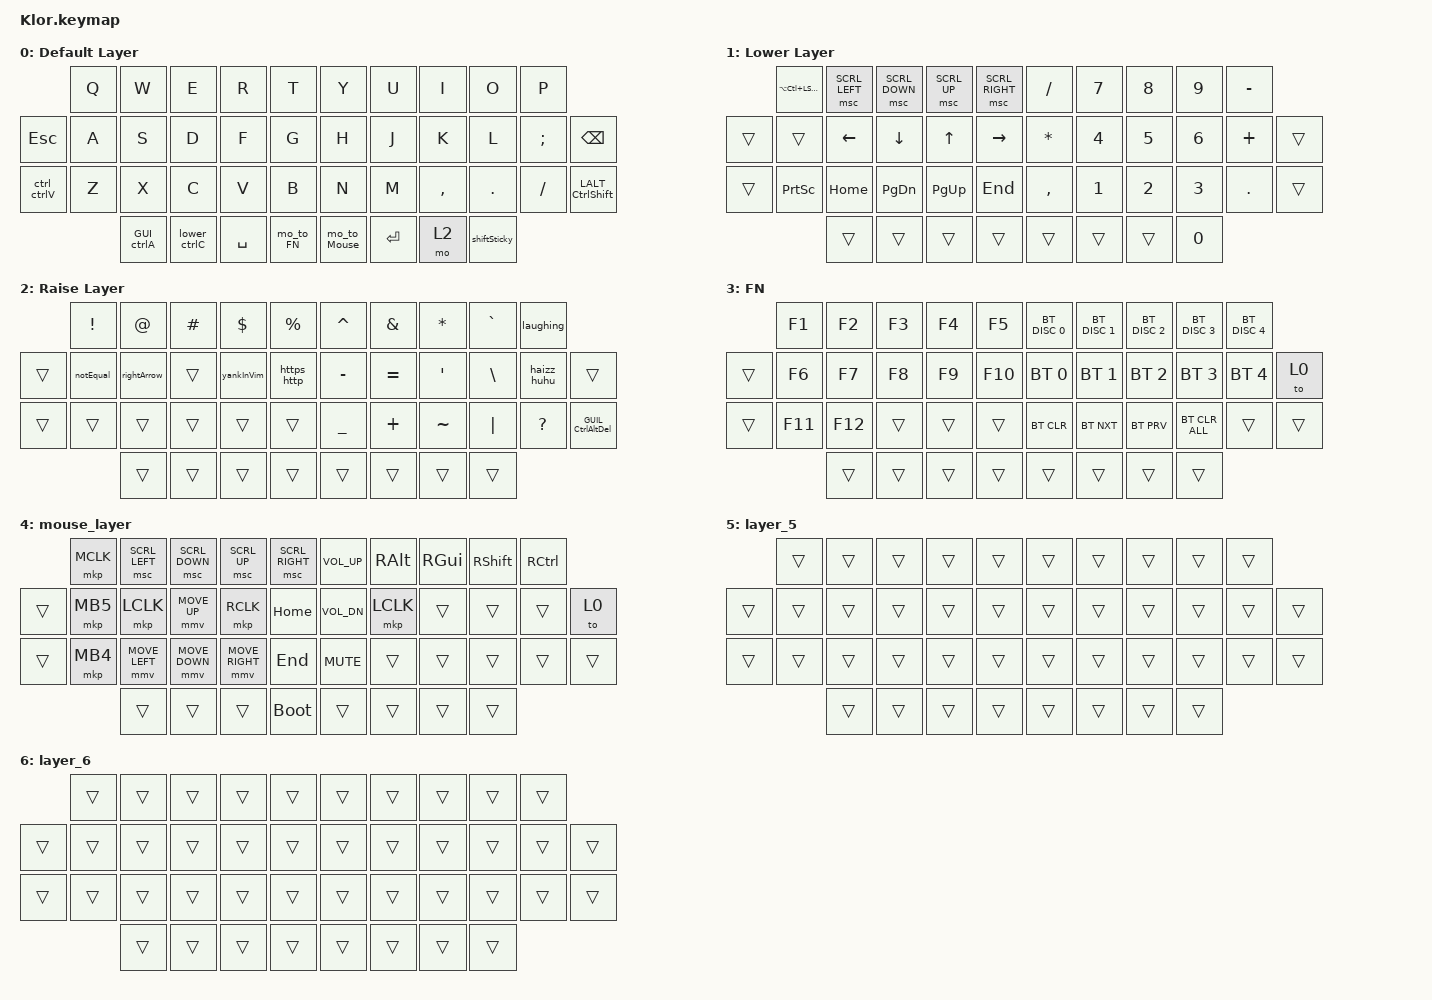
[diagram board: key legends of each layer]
/*
 * Copyright (c) 2020 The ZMK Contributors
 *
 * SPDX-License-Identifier: MIT
 */

#include <input/processors.dtsi>
#include <zephyr/dt-bindings/input/input-event-codes.h>
#include <dt-bindings/zmk/mouse.h>
#include <behaviors/mouse_keys.dtsi>
#include <behaviors.dtsi>
#include <dt-bindings/zmk/bt.h>
#include <dt-bindings/zmk/keys.h>
#include <dt-bindings/zmk/pointing.h>

#define ZMK_POINTING_DEFAULT_MOVE_VAL 1200  // 600
#define ZMK_POINTING_DEFAULT_SCRL_VAL 300   // mousescroll SPEED

&mmv_input_listener { input-processors = <&zip_xy_scaler 2 1>; };

&msc_input_listener { input-processors = <&zip_scroll_scaler 2 1>; };

&msc {
    acceleration-exponent = <1>;      // 0
    time-to-max-speed-ms = <3000>;       // 300
    delay-ms = <0>;                   // 0
};

&mmv {
    time-to-max-speed-ms = <1000>;
    acceleration-exponent = <1>;
    trigger-period-ms = <16>;
};

&soft_off {
    hold-time-ms = <3000>; // Only turn off it the key is held for 3 seconds or longer.
};

&mt { flavor = "tap-preferred"; };

&lt {
    tapping-term-ms = <300>;
    flavor = "balanced";
};

&sk {
    quick-release;
    lazy;
};

/ {
    behaviors {
        shiftSticky: shiftSticky {
            compatible = "zmk,behavior-tap-dance";
            label = "SHIFTSTICKY";
            #binding-cells = <0>;
            bindings = <&sk LEFT_SHIFT>;
        };

        GUI_ctrlA: GUI_ctrlA {
            compatible = "zmk,behavior-tap-dance";
            label = "GUI_CTRLA";
            #binding-cells = <0>;
            bindings = <&kp LEFT_GUI>, <&kp LC(A)>;
        };

        laughing: laughing {
            compatible = "zmk,behavior-tap-dance";
            label = "LAUGHING";
            #binding-cells = <0>;
            bindings = <&hihi>, <&haha>;
        };

        lower_ctrlC: lower_ctrlC {
            compatible = "zmk,behavior-tap-dance";
            label = "LOWER_CTRLC";
            #binding-cells = <0>;
            bindings = <&mo 1>, <&kp LC(C)>;
        };

        ctrl_ctrlV: ctrl_ctrlV {
            compatible = "zmk,behavior-tap-dance";
            label = "CTRL_CTRLV";
            #binding-cells = <0>;
            bindings = <&kp LCTRL>, <&kp LC(V)>;
        };

        mo_to_FN: mo_to_FN {
            compatible = "zmk,behavior-tap-dance";
            label = "MO_TO_FN";
            #binding-cells = <0>;
            bindings = <&mo 3>, <&to 3>;
        };

        mo_to_Mouse: mo_to_Mouse {
            compatible = "zmk,behavior-tap-dance";
            label = "MO_TO_MOUSE";
            #binding-cells = <0>;
            bindings = <&mo 4>, <&to 4>;
        };

        haizz_huhu: haizz_huhu {
            compatible = "zmk,behavior-tap-dance";
            label = "HAIZZ_HUHU";
            #binding-cells = <0>;
            bindings = <&haizzzz>, <&huhu>;
        };

        GUIL_CtrlAltDel: GUIL_CtrlAltDel {
            compatible = "zmk,behavior-tap-dance";
            label = "GUIL_CTRLALTDEL";
            #binding-cells = <0>;
            bindings = <&kp LG(L)>, <&kp LC(LA(DELETE))>;
        };

        LALT_CtrlShift: LALT_CtrlShift {
            compatible = "zmk,behavior-tap-dance";
            label = "LALT_CTRLSHIFT";
            #binding-cells = <0>;
            bindings = <&kp LEFT_ALT>, <&kp LC(LEFT_SHIFT)>;
        };

        https_http: https_http {
            compatible = "zmk,behavior-tap-dance";
            label = "HTTPS_HTTP";
            #binding-cells = <0>;
            bindings = <&https>, <&http>;
        };
    };

    combos {
        compatible = "zmk,combos";

        doubleQuotes {
            bindings = <&kp DOUBLE_QUOTES>;
            key-positions = <6 8>;
        };

        leftParenthesis {
            bindings = <&kp LEFT_PARENTHESIS>;
            key-positions = <6 7>;
        };

        rightParenthesis {
            bindings = <&kp RIGHT_PARENTHESIS>;
            key-positions = <7 8>;
        };

        leftBracket {
            bindings = <&kp LEFT_BRACKET>;
            key-positions = <17 18>;
        };

        rightBracket {
            bindings = <&kp RIGHT_BRACKET>;
            key-positions = <18 19>;
        };

        leftBrace {
            bindings = <&kp LEFT_BRACE>;
            key-positions = <29 30>;
        };

        rightBrace {
            bindings = <&kp RIGHT_BRACE>;
            key-positions = <30 31>;
        };

        lessThan {
            bindings = <&kp LESS_THAN>;
            key-positions = <17 19>;
        };

        greaterThan {
            bindings = <&kp GREATER_THAN>;
            key-positions = <29 31>;
        };

        colon {
            bindings = <&kp COLON>;
            key-positions = <19 20>;
        };

        backSpace {
            bindings = <&kp BACKSPACE>;
            key-positions = <23 24>;
            layers = <0 1 2 3>;
        };

        delete {
            bindings = <&kp DELETE>;
            key-positions = <24 25>;
            layers = <0 1 2 3>;
        };

        shift {
            bindings = <&kp LEFT_SHIFT>;
            key-positions = <25 26>;
            layers = <0 1 2 3>;
        };

        return {
            bindings = <&kp RET>;
            key-positions = <14 27>;
            layers = <0 1 2 3>;
        };

        tab {
            bindings = <&kp TAB>;
            key-positions = <13 14>;
            layers = <0 1 2 3>;
        };

        Caps_Lock {
            bindings = <&kp CAPSLOCK>;
            key-positions = <4 5>;
        };

        caps_Word {
            bindings = <&caps_word>;
            key-positions = <15 16>;
        };

        stickyShift {
            bindings = <&sk LEFT_SHIFT>;
            key-positions = <17 20>;
        };
    };

    macros {
        hihi: hihi {
            compatible = "zmk,behavior-macro";
            #binding-cells = <0>;
            bindings = <&none &kp COLON &kp RPAR &kp RPAR &kp RPAR>;
            label = "HIHI";
        };

        yankInVim: yankInVim {
            compatible = "zmk,behavior-macro";
            #binding-cells = <0>;
            bindings = <&none &kp DQT &kp PLUS &kp Y>;
            label = "YANKINVIM";
        };

        https: https {
            compatible = "zmk,behavior-macro";
            #binding-cells = <0>;
            bindings = <&none &kp H &kp T &kp T &kp P &kp S &kp COLON &kp FSLH &kp FSLH>;
            label = "HTTPS";
        };

        notEqual: notEqual {
            compatible = "zmk,behavior-macro";
            #binding-cells = <0>;
            bindings = <&none &kp EXCL &kp EQUAL>;
            label = "NOTEQUAL";
        };

        rightArrow: rightArrow {
            compatible = "zmk,behavior-macro";
            #binding-cells = <0>;
            bindings = <&none &kp MINUS &kp GT>;
            label = "RIGHTARROW";
        };

        haha: haha {
            compatible = "zmk,behavior-macro";
            #binding-cells = <0>;
            bindings = <&none &kp EQUAL &kp RPAR &kp RPAR &kp RPAR &kp RPAR &kp RPAR &kp RPAR &kp RPAR &kp RPAR>;
            label = "HAHA";
        };

        huhu: huhu {
            compatible = "zmk,behavior-macro";
            #binding-cells = <0>;
            bindings = <&none &kp COLON &kp LPAR &kp LPAR &kp LPAR &kp LPAR>;
            label = "HUHU";
        };

        haizzzz: haizzzz {
            compatible = "zmk,behavior-macro";
            #binding-cells = <0>;
            bindings = <&none &kp EQUAL &kp DOT &kp EQUAL>;
            label = "HAIZZZZ";
        };

        http: http {
            compatible = "zmk,behavior-macro";
            #binding-cells = <0>;
            bindings = <&none &kp H &kp T &kp T &kp P &kp COLON &kp FSLH &kp FSLH>;
            label = "HTTP";
        };

        testchosop: testchosop {
            compatible = "zmk,behavior-macro";
            #binding-cells = <0>;
            wait-ms = <20>;
            tap-ms = <30>;
            bindings =
                <&macro_tap>,
                <&kp N9 &kp N9 &kp N9 &kp N9 &kp N0 &kp N0 &kp N1 &kp N1 &kp N9 &kp N4 &kp SPACE &kp T &kp E &kp C &kp H &kp C &kp O &kp M &kp B &kp A &kp N &kp K &kp SPACE &kp N &kp G &kp O &kp SPACE &kp T &kp H &kp U &kp SPACE &kp H &kp A>,
                <&macro_tap>,
                <&kp SPACE &kp BACKSPACE>;

            label = "TESTCHOSOP";
        };
    };

    keymap {
        compatible = "zmk,keymap";

        //            RC(0,1) RC(0,2) RC(0,3) RC(0,4) RC(0,5) RC(0,6) RC(0,7) RC(0,8) RC(0,9) RC(0,10)
        //    RC(1,0) RC(1,1) RC(1,2) RC(1,3) RC(1,4) RC(1,5) RC(1,6) RC(1,7) RC(1,8) RC(1,9) RC(1,10) RC(1,11)
        //    RC(2,0) RC(2,1) RC(2,2) RC(2,3) RC(2,4) RC(2,5) RC(2,6) RC(2,7) RC(2,8) RC(2,9) RC(2,10) RC(2,11)
        //                    RC(3,2) RC(3,3) RC(3,4) RC(3,5) RC(3,6) RC(3,7) RC(3,8) RC(3,9)

        default_layer {
            display-name = "Default Layer";
            bindings = <
             &kp Q  &kp W       &kp E         &kp R      &kp T      &kp Y         &kp U       &kp I      &kp O         &kp P
&kp ESCAPE   &kp A  &kp S       &kp D         &kp F      &kp G      &kp H         &kp J       &kp K      &kp L         &kp SEMICOLON  &kp BACKSPACE
&ctrl_ctrlV  &kp Z  &kp X       &kp C         &kp V      &kp B      &kp N         &kp M       &kp COMMA  &kp DOT       &kp FSLH       &LALT_CtrlShift
                    &GUI_ctrlA  &lower_ctrlC  &kp SPACE  &mo_to_FN  &mo_to_Mouse  &kp RETURN  &mo 2      &shiftSticky
            >;
        };

        lower_layer {
            display-name = "Lower Layer";
            bindings = <
        &kp LA(LC(LEFT_SHIFT))  &msc SCRL_LEFT  &msc SCRL_DOWN  &msc SCRL_UP  &msc SCRL_RIGHT  &kp SLASH     &kp NUMBER_7  &kp NUMBER_8  &kp NUMBER_9  &kp MINUS
&trans  &trans                  &kp LEFT_ARROW  &kp DOWN        &kp UP_ARROW  &kp RIGHT        &kp ASTERISK  &kp NUMBER_4  &kp NUMBER_5  &kp NUMBER_6  &kp PLUS    &trans
&trans  &kp PRINTSCREEN         &kp HOME        &kp PAGE_DOWN   &kp PAGE_UP   &kp END          &kp COMMA     &kp NUMBER_1  &kp NUMBER_2  &kp NUMBER_3  &kp PERIOD  &trans
                                &trans          &trans          &trans        &trans           &trans        &trans        &trans        &kp NUMBER_0
            >;
        };

        raise_layer {
            display-name = "Raise Layer";
            bindings = <
        &kp EXCLAMATION  &kp AT_SIGN  &kp HASH  &kp DOLLAR  &kp PERCENT  &kp CARET       &kp AMPERSAND  &kp ASTERISK  &kp GRAVE      &laughing
&trans  &notEqual        &rightArrow  &trans    &yankInVim  &https_http  &kp MINUS       &kp EQUAL      &kp SQT       &kp BACKSLASH  &haizz_huhu   &trans
&trans  &trans           &trans       &trans    &trans      &trans       &kp UNDERSCORE  &kp PLUS       &kp TILDE     &kp PIPE       &kp QUESTION  &GUIL_CtrlAltDel
                         &trans       &trans    &trans      &trans       &trans          &trans         &trans        &trans
            >;
        };

        FN {
            bindings = <
        &kp F1   &kp F2   &kp F3  &kp F4  &kp F5   &bt BT_DISC 0  &bt BT_DISC 1  &bt BT_DISC 2  &bt BT_DISC 3   &bt BT_DISC 4
&trans  &kp F6   &kp F7   &kp F8  &kp F9  &kp F10  &bt BT_SEL 0   &bt BT_SEL 1   &bt BT_SEL 2   &bt BT_SEL 3    &bt BT_SEL 4   &to 0
&trans  &kp F11  &kp F12  &trans  &trans  &trans   &bt BT_CLR     &bt BT_NXT     &bt BT_PRV     &bt BT_CLR_ALL  &trans         &trans
                 &trans   &trans  &trans  &trans   &trans         &trans         &trans         &trans
            >;
        };

        mouse_layer {
            bindings = <
        &mkp MCLK  &msc SCRL_LEFT  &msc SCRL_DOWN  &msc SCRL_UP     &msc SCRL_RIGHT  &kp C_VOLUME_UP  &kp RIGHT_ALT  &kp RIGHT_GUI  &kp RSHIFT  &kp RIGHT_CONTROL
&trans  &mkp MB5   &mkp LCLK       &mmv MOVE_UP    &mkp RCLK        &kp HOME         &kp C_VOL_DN     &mkp LCLK      &trans         &trans      &trans             &to 0
&trans  &mkp MB4   &mmv MOVE_LEFT  &mmv MOVE_DOWN  &mmv MOVE_RIGHT  &kp END          &kp K_MUTE       &trans         &trans         &trans      &trans             &trans
                   &trans          &trans          &trans           &bootloader      &trans           &trans         &trans         &trans
            >;
        };

        layer_5 {
            bindings = <
        &trans  &trans  &trans  &trans  &trans  &trans  &trans  &trans  &trans  &trans
&trans  &trans  &trans  &trans  &trans  &trans  &trans  &trans  &trans  &trans  &trans  &trans
&trans  &trans  &trans  &trans  &trans  &trans  &trans  &trans  &trans  &trans  &trans  &trans
                &trans  &trans  &trans  &trans  &trans  &trans  &trans  &trans
            >;
        };

        layer_6 {
            bindings = <
        &trans  &trans  &trans  &trans  &trans  &trans  &trans  &trans  &trans  &trans
&trans  &trans  &trans  &trans  &trans  &trans  &trans  &trans  &trans  &trans  &trans  &trans
&trans  &trans  &trans  &trans  &trans  &trans  &trans  &trans  &trans  &trans  &trans  &trans
                &trans  &trans  &trans  &trans  &trans  &trans  &trans  &trans
            >;
        };
    };
};
